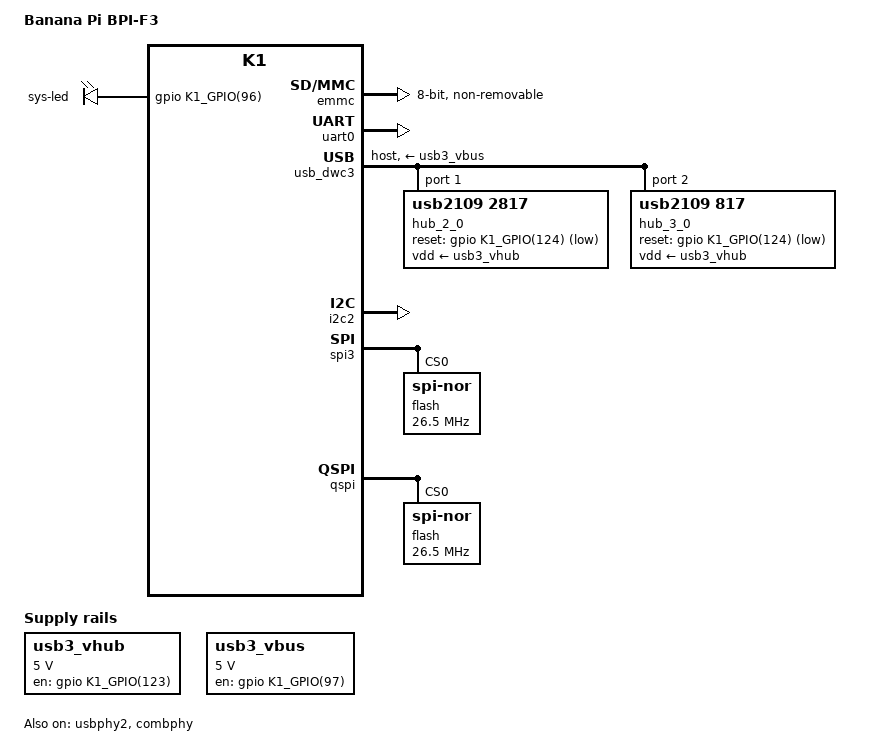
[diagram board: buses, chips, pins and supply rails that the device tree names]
// SPDX-License-Identifier: GPL-2.0 OR MIT
/*
 * Copyright (C) 2024 Yangyu Chen <cyy@cyyself.name>
 */

#include "k1.dtsi"
#include "k1-pinctrl.dtsi"

/ {
	model = "Banana Pi BPI-F3";
	compatible = "bananapi,bpi-f3", "spacemit,k1";

	aliases {
		serial0 = &uart0;
	};

	chosen {
		stdout-path = "serial0";
	};

	leds {
		compatible = "gpio-leds";

		led1 {
			label = "sys-led";
			gpios = <&gpio K1_GPIO(96) GPIO_ACTIVE_HIGH>;
			linux,default-trigger = "heartbeat";
			default-state = "on";
		};
	};

	usb3_vhub: regulator-vhub-5v {
		compatible = "regulator-fixed";
		regulator-name = "USB30_VHUB";
		regulator-min-microvolt = <5000000>;
		regulator-max-microvolt = <5000000>;
		gpio = <&gpio K1_GPIO(123) GPIO_ACTIVE_HIGH>;
		enable-active-high;
	};

	usb3_vbus: regulator-vbus-5v {
		compatible = "regulator-fixed";
		regulator-name = "USB30_VBUS";
		regulator-min-microvolt = <5000000>;
		regulator-max-microvolt = <5000000>;
		regulator-always-on;
		gpio = <&gpio K1_GPIO(97) GPIO_ACTIVE_HIGH>;
		enable-active-high;
	};
};

&emmc {
	bus-width = <8>;
	non-removable;
	mmc-hs400-1_8v;
	mmc-hs400-enhanced-strobe;
	no-sdio;
	no-sd;
	status = "okay";
};

&uart0 {
	pinctrl-names = "default";
	pinctrl-0 = <&uart0_2_cfg>;
	status = "okay";
};

&usbphy2 {
	status = "okay";
};

&combphy {
	status = "okay";
};

&usb_dwc3 {
	dr_mode = "host";
	vbus-supply = <&usb3_vbus>;
	#address-cells = <1>;
	#size-cells = <0>;
	status = "okay";

	hub_2_0: hub@1 {
		compatible = "usb2109,2817";
		reg = <0x1>;
		vdd-supply = <&usb3_vhub>;
		peer-hub = <&hub_3_0>;
		reset-gpios = <&gpio K1_GPIO(124) GPIO_ACTIVE_LOW>;
	};

	hub_3_0: hub@2 {
		compatible = "usb2109,817";
		reg = <0x2>;
		vdd-supply = <&usb3_vhub>;
		peer-hub = <&hub_2_0>;
		reset-gpios = <&gpio K1_GPIO(124) GPIO_ACTIVE_LOW>;
	};
};

&pdma0 {
	status = "okay";
};

&i2c2 {
	pinctrl-names = "default";
	pinctrl-0 = <&i2c2_0_cfg>;
	spacemit,i2c-fast-mode;
	status = "okay";

	eeprom@50{
		compatible = "atmel,24c02";
		reg = <0x50>;
		#address-cells = <1>;
		#size-cells = <1>;

		status = "disabled";

		mac_address0: mac_address0@0 {
			reg = <0x0 6>;
		};

		mac_address1: mac_address1@6 {
			reg = <0x6 6>;
		};
	};
};

&spi3 {
	pinctrl-names = "default";
	pinctrl-0 = <&ssp3_0_cfg>;
	status = "okay";

	flash@0 {
		compatible = "jedec,spi-nor";
		reg = <0>;
		spi-max-frequency = <26500000>;
		m25p,fast-read;
		broken-flash-reset;
		status = "okay";
	};
};

&qspi {
	pinctrl-names = "default";
	pinctrl-0 = <&qspi_cfg>;
	status = "okay";

	flash@0 {
		compatible = "jedec,spi-nor";
		reg = <0>;
		spi-max-frequency = <26500000>;
		m25p,fast-read;
		broken-flash-reset;
		status = "okay";
	};
};
